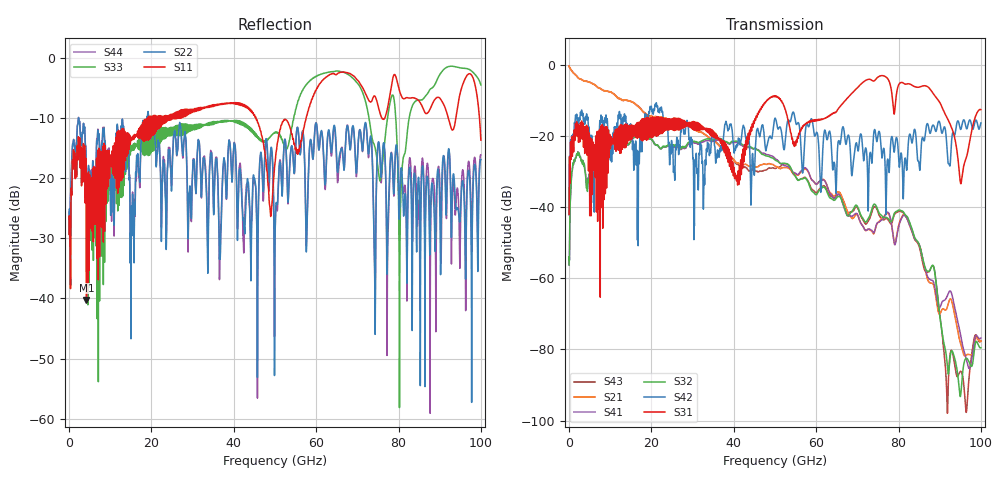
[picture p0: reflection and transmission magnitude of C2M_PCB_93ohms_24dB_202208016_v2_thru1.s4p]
! Info: Touchstone file created by Circ.  Input file=Intel_C2M_200G_9p5in_202208016_staggered.circ
# Hz S RI R 50
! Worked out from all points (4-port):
!   10000 points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, 10 MHz to 100 GHz, reference 50 ohm
!   strongest paths, dB at 10 MHz, 25.01 GHz, 50.01 GHz, 75.01 GHz, 100 GHz:
!     S31: -42.1, -16.9, -8.6, -3.4, -12.5
!     S42: -42.1, -24.1, -14.9, -19.7, -16.3
!     S32: -56.2, -22.6, -26.7, -40.9, -79.5
!     S41: -56.2, -22.8, -26.3, -44.3, -76.8
!     S21: -0.3, -15.7, -28.4, -44.3, -77.7
!     S43: -0.3, -15.7, -29.1, -41.3, -77.5
!   lowest |S11| = -40.3 dB at 4.23 GHz (marker M1), VSWR 1.02, Z = 50.1 + j0.965 ohm
!   |S11| at or under -10 dB: start of sweep to 19.08 GHz; 45.37 GHz to 57.57 GHz (12.2 GHz wide, 23.7 % of centre); 92.06 GHz to 93.94 GHz (1.886 GHz wide, 2.03 % of centre)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
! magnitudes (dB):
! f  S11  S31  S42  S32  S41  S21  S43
! 10 MHz  -29.4  -42.1  -42.1  -56.2  -56.2  -0.3  -0.3
! 1.32 GHz  -15.9  -19.0  -16.2  -27.1  -27.1  -2.5  -2.5
! 4.23 GHz  -40.3  -17.2  -13.8  -34.6  -33.9  -4.6  -4.6
! 45.4 GHz  -10.1  -14.5  -20.3  -23.6  -23.6  -28.6  -29.8
! 80.93 GHz  -6.7  -4.9  -28.7  -41.0  -42.6  -42.4  -41.4
! 95.16 GHz  -5.4  -33.4  -18.0  -92.2  -76.5  -78.6  -86.2
! 100 GHz  -13.7  -12.5  -16.3  -79.5  -76.8  -77.7  -77.5
